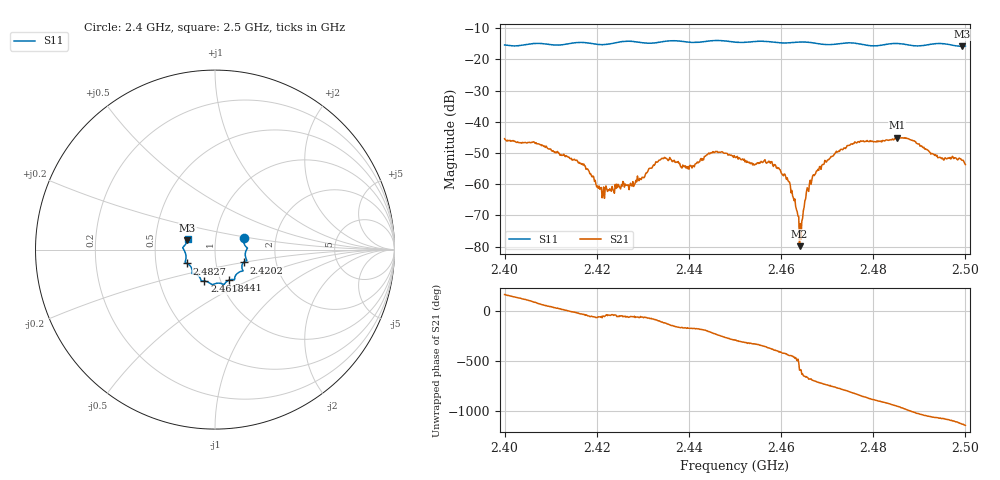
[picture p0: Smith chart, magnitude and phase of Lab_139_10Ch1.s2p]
# Hz S RI R 50
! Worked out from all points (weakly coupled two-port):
!   601 points, 2.4 GHz to 2.5 GHz, reference 50 ohm
!   highest |S21| = -45.06 dB at 2.4852 GHz (marker M1); lowest = -79.9 dB at 2.464 GHz (marker M2)
!   lowest |S11| = -15.8 dB at 2.4993 GHz (marker M3), VSWR 1.39, Z = 36.5 + j3.81 ohm
!   |S11| at or under -10 dB: start of sweep to end of sweep
!   S12 and S22 are empty: the file has one direction only
!   S11 on the Smith chart (normalised r, x): 2.4 GHz: 1.36, +0.18; 2.4202 GHz: 1.36, -0.20; 2.441 GHz: 1.10, -0.39; 2.4618 GHz: 0.84, -0.30; 2.4827 GHz: 0.72, -0.11; 2.5 GHz: 0.73, +0.09
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2.4e9  0.159 0.0629  -0.00525 0.000982  0 0  0 0
2.406667e9  0.1804 0.00917  -0.000152 0.00449  0 0  0 0
2.416667e9  0.1774 -0.0608  0.00187 -0.000914  0 0  0 0
2.420167e9  0.1591 -0.0716  0.000429 -0.000832  0 0  0 0
2.421167e9  0.1532 -0.0794  0.000261 -0.000546  0 0  0 0
2.4275e9  0.1545 -0.1194  0.000582 -0.000756  0 0  0 0
2.433333e9  0.1118 -0.1508  -0.00023 -0.00231  0 0  0 0
2.441e9  0.0788 -0.1698  -0.00196 -0.000279  0 0  0 0
2.445667e9  0.0506 -0.1948  -0.00226 0.00236  0 0  0 0
2.45e9  0.0287 -0.1874  0.000966 0.00254  0 0  0 0
2.457667e9  -0.0231 -0.1906  0.00209 -0.000546  0 0  0 0
2.461833e9  -0.0591 -0.1756  6.86e-05 -0.00108  0 0  0 0
2.464e9  -0.0737 -0.1752  -6.27e-05 7.96e-05  0 0  0 0
2.4645e9  -0.0752 -0.175  1.71e-05 0.000254  0 0  0 0
2.465333e9  -0.0771 -0.1734  0.000313 0.000495  0 0  0 0
2.466667e9  -0.0787 -0.1684  0.001 0.000573  0 0  0 0
2.474833e9  -0.1272 -0.1341  -1.72e-05 -0.0042  0 0  0 0
2.482667e9  -0.1561 -0.077  -0.0047 0.00189  0 0  0 0
2.483333e9  -0.1604 -0.0752  -0.00438 0.00249  0 0  0 0
2.485167e9  -0.1659 -0.0707  -0.00313 0.00462  0 0  0 0
2.499333e9  -0.1541 0.0509  0.00127 -0.00206  0 0  0 0
2.5e9  -0.1522 0.0603  0.000715 -0.00194  0 0  0 0
